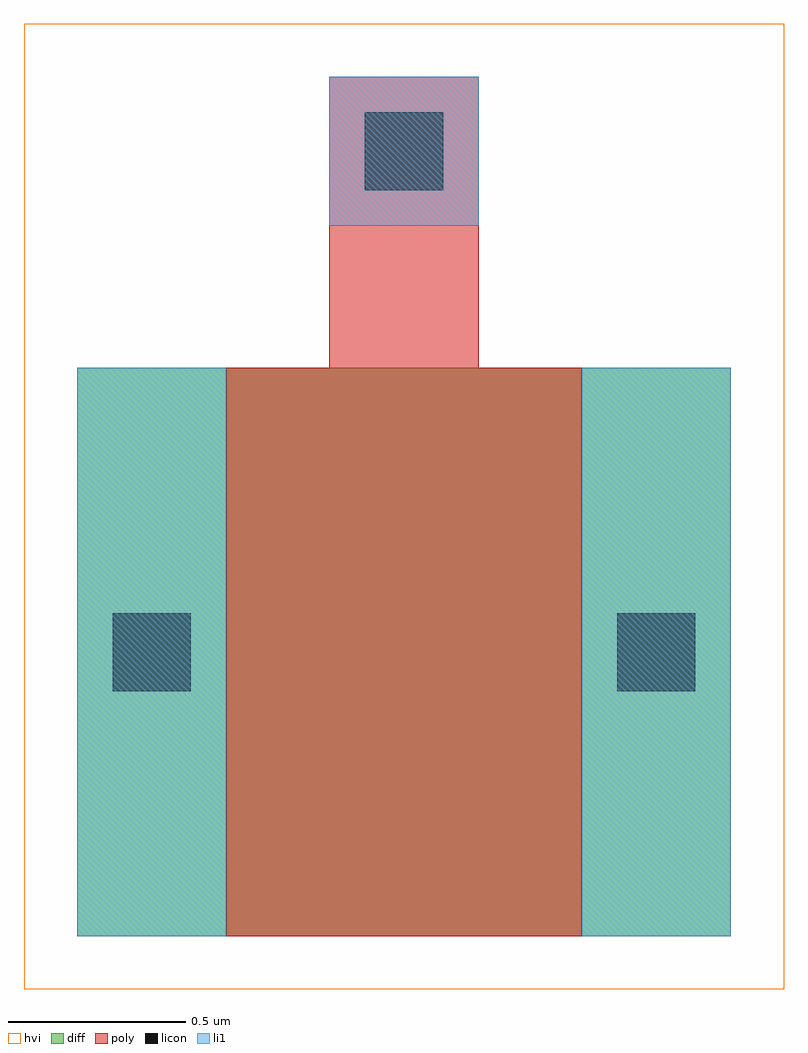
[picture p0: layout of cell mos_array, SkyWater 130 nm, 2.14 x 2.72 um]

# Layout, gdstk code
import gdstk
lib = gdstk.Library(unit=1e-6, precision=1e-09)
def R(c, l, rs):  # rectangles x0, y0, x1, y1
    for r in rs: c.add(gdstk.rectangle(r[:2], r[2:], *l))
diff = (65, 20)
poly = (66, 20)
licon = (66, 44)
li1 = (67, 20)
hvi = (75, 20)

mos_array = lib.new_cell('mos_array')
R(mos_array, diff, [(0,0,1.84,1.6)])
R(mos_array, poly, [(0.42,0,1.42,1.6), (0.71,1.6,1.13,2.42)])
R(mos_array, licon, [(0.1,0.69,0.32,0.91), (1.52,0.69,1.74,0.91), (0.81,2.1,1.03,2.32)])
R(mos_array, li1, [(0,0,0.42,1.6), (1.42,0,1.84,1.6), (0.71,2,1.13,2.42)])
R(mos_array, hvi, [(-0.15,-0.15,1.99,2.57)])

lib.write_gds('mos_array.gds')
